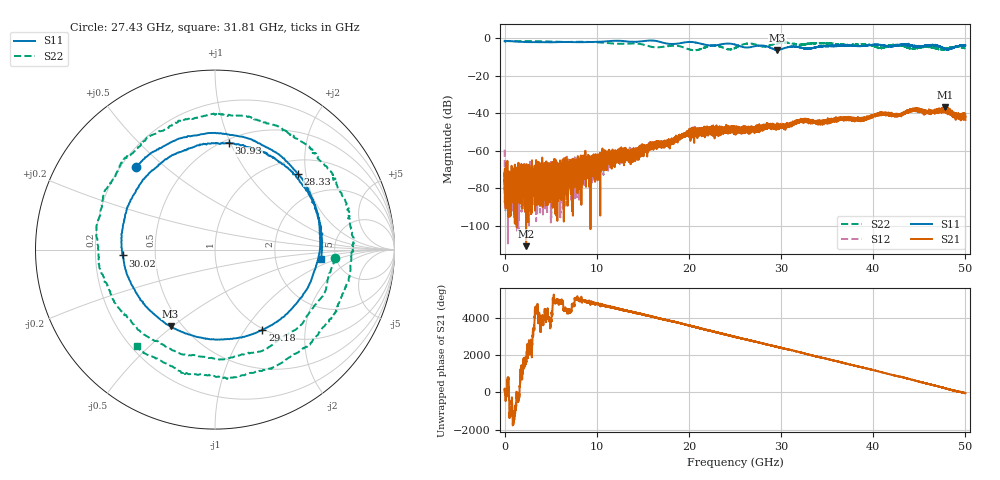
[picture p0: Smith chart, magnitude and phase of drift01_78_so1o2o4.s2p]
!Created with skrf (http://scikit-rf.org).
# Hz S RI R 50.0
!freq ReS11 ImS11 ReS21 ImS21 ReS12 ImS12 ReS22 ImS22
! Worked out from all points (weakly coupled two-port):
!   10001 points, 300 kHz to 50 GHz, reference 50 ohm
!   highest |S21| = -36.58 dB at 47.79 GHz (marker M1); lowest = -110.8 dB at 2.335 GHz (marker M2)
!   lowest |S11| = -6.2 dB at 29.61 GHz (marker M3), VSWR 2.94, Z = 21.8 - j24.5 ohm
!   |S11| at or under -10 dB: nowhere
!   |S22| runs from -6.4 to -1.3 dB; largest |S21 - S12| = 0.0037
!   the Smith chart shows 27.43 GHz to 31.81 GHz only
!   S11 on the Smith chart (normalised r, x): 27.43 GHz: 0.26, +0.40; 28.33 GHz: 1.29, +1.80; 29.18 GHz: 0.99, -1.20; 30.02 GHz: 0.32, -0.03; 30.93 GHz: 0.54, +0.99; 31.81 GHz: 3.84, -0.62
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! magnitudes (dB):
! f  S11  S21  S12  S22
! 300 kHz  -1.3  -75.5  -59.3  -2.1
! 255.3 MHz  -1.4  -78.4  -78.2  -1.4
! 2.335 GHz  -1.9  -110.8  -73.0  -1.4
! 5.725 GHz  -2.0  -74.7  -77.2  -1.7
! 8.335 GHz  -2.0  -64.7  -65.8  -1.8
! 16.67 GHz  -1.6  -56.4  -56.8  -4.8
! 20.28 GHz  -1.9  -48.3  -49.9  -6.1
! 22.62 GHz  -3.8  -49.2  -48.6  -3.8
! 25 GHz  -3.3  -48.3  -48.2  -5.0
! 27.43 GHz  -3.9  -47.7  -47.9  -3.4
! 28.33 GHz  -4.1  -47.0  -46.9  -4.4
! 29.18 GHz  -5.7  -47.3  -46.3  -3.0
! 29.61 GHz  -6.2  -47.0  -47.7  -2.6
! 30.02 GHz  -5.8  -47.3  -47.0  -2.3
! 30.93 GHz  -4.5  -46.9  -45.3  -2.5
! 31.81 GHz  -4.5  -44.8  -44.3  -3.2
! 33.34 GHz  -5.2  -44.2  -44.5  -2.7
! 41.67 GHz  -4.2  -40.3  -40.7  -4.0
! 44.48 GHz  -4.2  -38.3  -38.2  -5.3
! 46.54 GHz  -3.5  -39.2  -39.2  -4.9
! 47.79 GHz  -5.6  -36.6  -38.8  -5.7
! 50 GHz  -3.8  -43.5  -42.0  -5.2
